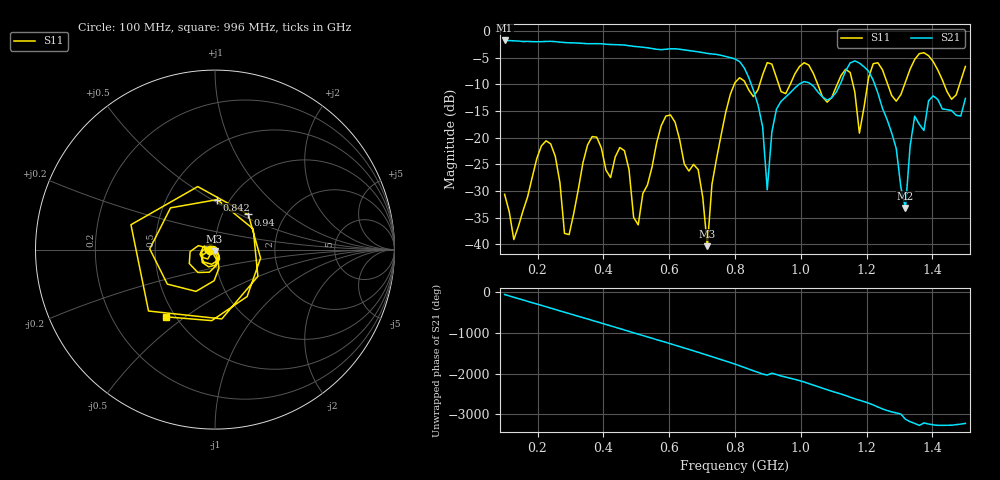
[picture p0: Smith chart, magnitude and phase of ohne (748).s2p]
! NanoVNA-App
! Date: 2025-09-25 14:26:37
! Start: 100MHz Stop: 1,5GHz Points: 101
! S-Parameter data: F S11 S21 S12 S22
# Hz S RI R 50
!  Frequency  S11_Real  S11_Imag  S21_Real  S21_Imag  S12_Real  S12_Imag  S22_Real  S22_Imag
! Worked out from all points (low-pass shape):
!   101 points, 100 MHz to 1.5 GHz, reference 50 ohm
!   highest |S21| = -1.79 dB at 100 MHz (marker M1); lowest = -33.2 dB at 1.318 GHz (marker M2)
!   |S21| within 3 dB of the highest: start of sweep to 771.7 MHz
!   lowest |S11| = -40.3 dB at 716 MHz (marker M3), VSWR 1.02, Z = 49.7 - j0.916 ohm
!   |S11| at or under -10 dB: start of sweep to 798 MHz; 833.1 MHz to 875.1 MHz (41.96 MHz wide, 4.91 % of centre); 1.051 GHz to 1.111 GHz (59.4 MHz wide, 5.49 % of centre) (the widest 3 of 7)
!   S12 and S22 are empty: the file has one direction only
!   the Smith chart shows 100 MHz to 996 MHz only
!   S11 on the Smith chart (normalised r, x): 100 MHz: 0.94, -0.01; 842 MHz: 0.88, +0.53; 940 MHz: 1.32, +0.56; 996 MHz: 0.45, -0.42
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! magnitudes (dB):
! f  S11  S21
! 100 MHz  -30.6  -1.8
! 128 MHz  -39.1  -1.9
! 226 MHz  -20.6  -2.0
! 296 MHz  -38.2  -2.2
! 338 MHz  -24.7  -2.3
! 464 MHz  -22.4  -2.7
! 506 MHz  -36.4  -3.0
! 576 MHz  -17.7  -3.5
! 688 MHz  -26.0  -3.9
! 716 MHz  -40.3  -4.2
! 800 MHz  -9.7  -5.3
! 842 MHz  -11.1  -8.8
! 898 MHz  -5.9  -29.8
! 940 MHz  -11.4  -13.2
! 996 MHz  -6.7  -9.9
! 1.038 GHz  -8.0  -10.3
! 1.178 GHz  -19.2  -6.0
! 1.22 GHz  -6.1  -9.3
! 1.276 GHz  -12.1  -19.1
! 1.318 GHz  -9.6  -33.2
! 1.346 GHz  -5.4  -16.0
! 1.5 GHz  -6.7  -12.7
